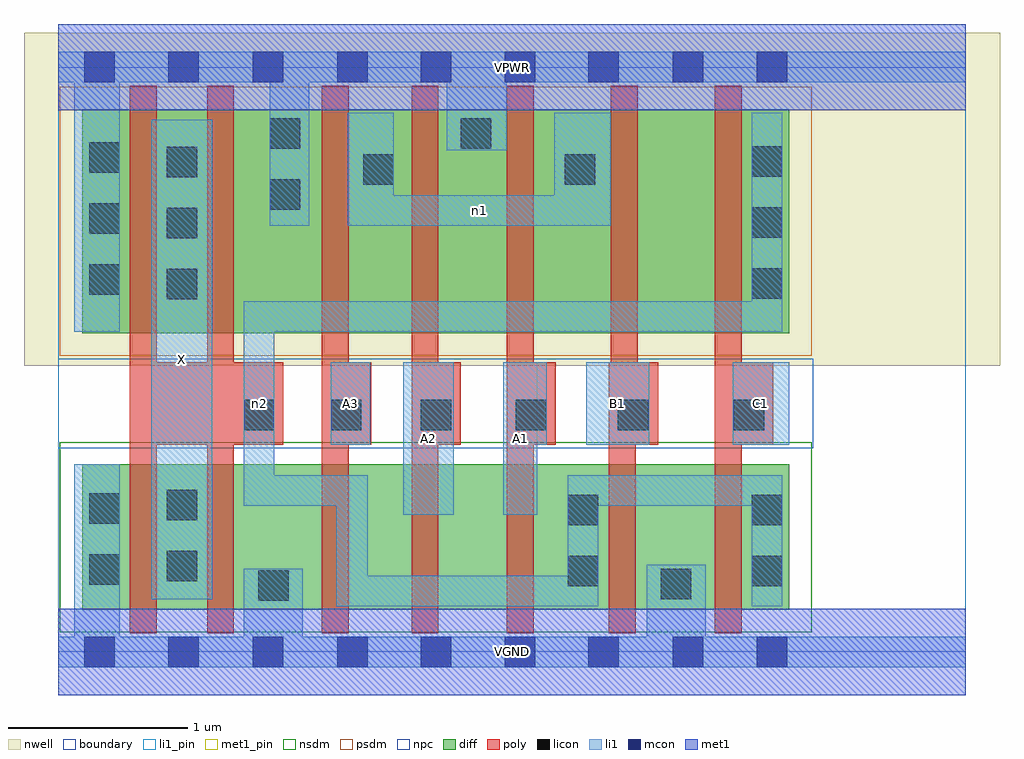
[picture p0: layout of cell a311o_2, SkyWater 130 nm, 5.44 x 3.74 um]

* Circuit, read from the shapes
.subckt a311o_2 A1 A2 A3 B1 C1 VGND VPWR X n1 n2
XM1 X n2 VGND VSUBS sky130_fd_pr__nfet_01v8 w=0.81 l=0.15 m=2
XM2 n3 A3 VGND VSUBS sky130_fd_pr__nfet_01v8 w=0.81 l=0.15
XM3 n4 A2 n3 VSUBS sky130_fd_pr__nfet_01v8 w=0.81 l=0.15
XM4 n2 A1 n4 VSUBS sky130_fd_pr__nfet_01v8 w=0.81 l=0.15
XM5 VGND B1 n2 VSUBS sky130_fd_pr__nfet_01v8 w=0.81 l=0.15
XM6 n2 C1 VGND VSUBS sky130_fd_pr__nfet_01v8 w=0.81 l=0.15
XM7 X n2 VPWR n5 sky130_fd_pr__pfet_01v8 w=1.25 l=0.15 m=2
XM8 n1 A3 VPWR n5 sky130_fd_pr__pfet_01v8 w=1.25 l=0.15
XM9 VPWR A2 n1 n5 sky130_fd_pr__pfet_01v8 w=1.25 l=0.15
XM10 n1 A1 VPWR n5 sky130_fd_pr__pfet_01v8 w=1.25 l=0.15
XM11 n6 B1 n1 n5 sky130_fd_pr__pfet_01v8 w=1.25 l=0.15
XM12 n2 C1 n6 n5 sky130_fd_pr__pfet_01v8 w=1.25 l=0.15
.ends

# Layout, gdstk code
import gdstk
lib = gdstk.Library(unit=1e-6, precision=1e-09)
def R(c, l, rs):  # rectangles x0, y0, x1, y1
    for r in rs: c.add(gdstk.rectangle(r[:2], r[2:], *l))
def A(c, l, x, y, w, h, nx, ny, dx, dy):  # array of equal rectangles
    R(c, l, [(x+i*dx, y+j*dy, x+i*dx+w, y+j*dy+h) for i in range(nx) for j in range(ny)])
nwell = (64, 20)
diff = (65, 20)
poly = (66, 20)
licon = (66, 44)
li1_pin = (67, 16)
li1 = (67, 20)
mcon = (67, 44)
met1_pin = (68, 16)
met1 = (68, 20)
nsdm = (93, 44)
psdm = (94, 20)
npc = (95, 20)
boundary = (235, 4)

a311o_2 = lib.new_cell('a311o_2')
R(a311o_2, nwell, [(-0.19,1.595,5.25,3.45), (0,1.595,5.06,3.45)])
R(a311o_2, diff, [(0.135,0.235,4.075,1.045), (0.135,1.775,4.075,3.025)])
R(a311o_2, poly, [(0.4,0.105,0.55,3.155), (0.83,0.105,0.98,3.155), (1.47,0.105,1.62,3.155), (1.97,0.105,2.12,3.155), (2.5,0.105,2.65,3.155), (3.07,0.105,3.22,1.615), (3.66,0.105,3.81,3.155), (0.4,1.155,1.255,1.615), (1.47,1.155,1.745,1.615), (1.97,1.155,2.245,1.615), (2.5,1.155,2.775,1.615), (3.07,1.155,3.345,1.615), (3.08,1.155,3.23,3.155), (3.66,1.155,3.985,1.615)])
A(a311o_2, licon, 0.605, 1.965, 0.17, 0.17, 1, 3, 0, 0.34)
A(a311o_2, licon, 3.865, 1.97, 0.17, 0.17, 1, 3, 0, 0.34)
A(a311o_2, licon, 0.175, 1.99, 0.17, 0.17, 1, 3, 0, 0.34)
R(a311o_2, licon, [(1.115,0.285,1.285,0.455), (3.36,0.295,3.53,0.465), (2.84,0.365,3.01,0.535), (3.865,0.365,4.035,0.535), (0.175,0.375,0.345,0.545), (0.605,0.395,0.775,0.565), (2.84,0.705,3.01,0.875), (3.865,0.705,4.035,0.875), (0.175,0.715,0.345,0.885), (0.605,0.735,0.775,0.905), (1.035,1.235,1.205,1.405), (1.52,1.235,1.69,1.405), (2.02,1.235,2.19,1.405), (2.55,1.235,2.72,1.405), (3.12,1.235,3.29,1.405), (3.765,1.235,3.935,1.405), (1.18,2.465,1.35,2.635), (1.7,2.605,1.87,2.775), (2.825,2.605,2.995,2.775), (1.18,2.805,1.35,2.975), (2.245,2.805,2.415,2.975)])
R(a311o_2, li1_pin, [(0.52,0.295,0.86,2.965), (1.925,0.765,2.205,1.615), (2.48,0.765,2.67,1.615), (1.52,1.155,1.74,1.615), (2.945,1.155,3.295,1.615), (3.76,1.155,4.075,1.615)])
R(a311o_2, li1, [(0,-0.085,5.06,0.085), (0.09,-0.085,0.345,1.045), (1.035,-0.085,1.365,0.465), (3.28,-0.085,3.61,0.485), (1.55,0.255,3.01,0.425), (1.55,0.255,1.725,0.985), (2.84,0.255,3.01,0.985), (3.865,0.255,4.035,0.985), (0.52,0.295,0.86,2.965), (1.925,0.765,2.205,1.615), (2.48,0.765,2.67,1.615), (1.035,0.815,1.205,1.955), (1.035,0.815,1.725,0.985), (2.84,0.815,4.035,0.985), (1.52,1.155,1.74,1.615), (2.48,1.155,2.725,1.615), (2.945,1.155,3.295,1.615), (3.76,1.155,4.075,1.615), (0.09,1.785,0.345,3.345), (1.035,1.785,4.035,1.955), (3.865,1.785,4.035,3.005), (1.18,2.375,1.4,3.345), (1.615,2.375,3.08,2.545), (1.615,2.375,1.87,3.005), (2.765,2.375,3.08,3.005), (2.165,2.795,2.5,3.345), (0,3.175,5.06,3.345)])
A(a311o_2, mcon, 0.145, -0.085, 0.17, 0.17, 4, 2, 0.47, 3.26)
A(a311o_2, mcon, 2.955, -0.085, 0.17, 0.17, 3, 2, 0.47, 3.26)
R(a311o_2, mcon, [(2.02,-0.085,2.19,0.085), (2.49,-0.085,2.66,0.085), (2.02,3.175,2.19,3.345), (2.49,3.175,2.66,3.345)])
R(a311o_2, met1_pin, [(0,-0.24,5.06,0.24), (0,3.02,5.06,3.5)])
R(a311o_2, met1, [(0,-0.24,5.06,0.24), (0,3.02,5.06,3.5)])
R(a311o_2, nsdm, [(0.01,0.11,4.2,1.17)])
R(a311o_2, psdm, [(0.01,1.65,4.2,3.15)])
R(a311o_2, npc, [(0,1.135,4.21,1.635)])
R(a311o_2, boundary, [(0,0,5.06,3.26)])
a311o_2.add(gdstk.Label('A1', (2.575,1.19), layer=67, texttype=5))
a311o_2.add(gdstk.Label('A2', (2.065,1.19), layer=67, texttype=5))
a311o_2.add(gdstk.Label('A3', (1.63,1.385), layer=67, texttype=5))
a311o_2.add(gdstk.Label('B1', (3.12,1.385), layer=67, texttype=5))
a311o_2.add(gdstk.Label('C1', (3.917,1.385), layer=67, texttype=5))
a311o_2.add(gdstk.Label('X', (0.69,1.63), layer=67, texttype=5))
a311o_2.add(gdstk.Label('n1', (2.347,2.46), layer=67, texttype=5))
a311o_2.add(gdstk.Label('n2', (1.12,1.385), layer=67, texttype=5))
a311o_2.add(gdstk.Label('VPWR', (2.53,3.26), layer=68, texttype=5))
a311o_2.add(gdstk.Label('VGND', (2.53,0), layer=68, texttype=5))
a311o_2.add(gdstk.Label('A1', (2.575,1.19), layer=67, texttype=16))
a311o_2.add(gdstk.Label('A2', (2.065,1.19), layer=67, texttype=16))
a311o_2.add(gdstk.Label('A3', (1.63,1.385), layer=67, texttype=16))
a311o_2.add(gdstk.Label('B1', (3.12,1.385), layer=67, texttype=16))
a311o_2.add(gdstk.Label('C1', (3.917,1.385), layer=67, texttype=16))
a311o_2.add(gdstk.Label('X', (0.69,1.63), layer=67, texttype=16))
a311o_2.add(gdstk.Label('VPWR', (2.53,3.26), layer=68, texttype=16))
a311o_2.add(gdstk.Label('VGND', (2.53,0), layer=68, texttype=16))

lib.write_gds('a311o_2.gds')
